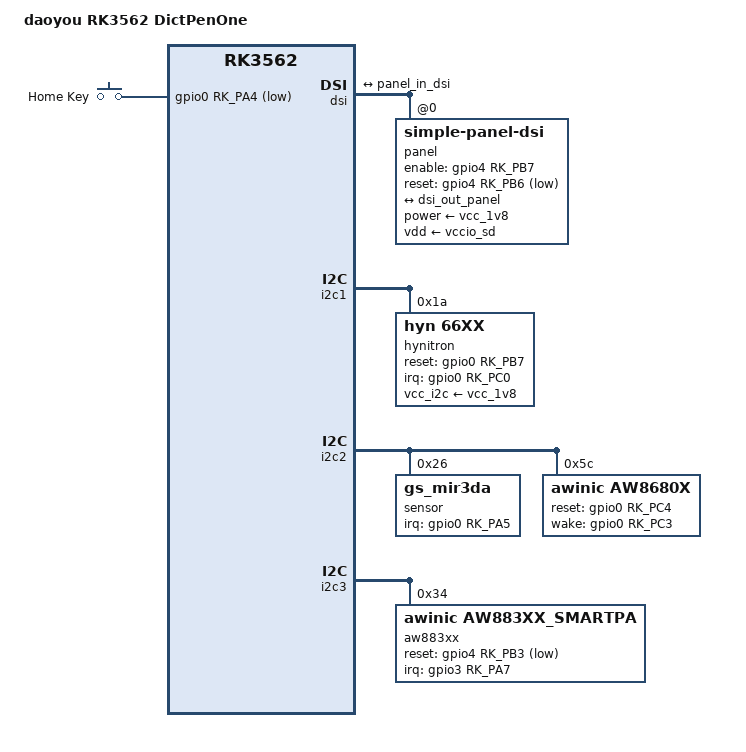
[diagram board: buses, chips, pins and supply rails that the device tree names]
// SPDX-License-Identifier: (GPL-2.0+ OR MIT)
/*
 * Copyright (c) 2022 Rockchip Electronics Co., Ltd.
 *
 */

/dts-v1/;

#include "rk3562-dictpen07-commom.dtsi"
#include "rk3562-android.dtsi"
// #include "rk3562-linux.dtsi"

/ {
	model = "daoyou RK3562 DictPenOne";
	compatible = "daoyou,rk3562-dictpenone", "rockchip,rk3562";

	chosen: chosen {
		bootargs = "earlycon=uart8250,mmio32,0xff210000 console=ttyFIQ0 console=tty1";
	};
	// chosen: chosen {
	// 	bootargs = "earlycon=uart8250,mmio32,0xff210000 console=ttyFIQ0 console=tty1 root=PARTUUID=614e0000-0000 rw rootwait";
	// };

	adc_keys: adc-keys {
		compatible = "adc-keys";
		io-channels = <&saradc0 1>;
		io-channel-names = "buttons";
		keyup-threshold-microvolt = <1800000>;
		poll-interval = <100>;

		// vol-up-key {
		// 	label = "volume up";
		// 	linux,code = <KEY_VOLUMEUP>;
		// 	press-threshold-microvolt = <1750>;
		// };

		// vol-down-key {
		// 	label = "volume down";
		// 	linux,code = <KEY_VOLUMEDOWN>;
		// 	press-threshold-microvolt = <297500>;
		// };
	};

	aw883x-sound {
		status = "okay";
		compatible = "rockchip,multicodecs-card";
		rockchip,card-name = "rockchip-aw883xx";
		rockchip,format = "i2s";
		rockchip,mclk-fs = <256>;
		rockchip,cpu = <&sai0>;
		rockchip,codec = <&aw883xx>;
	};

	// led_control {
	// 	status = "okay";
	// 	compatible = "led_control";
	// 	debounce-interval = <1>;
	// 	wakeup-source;
	// 	pinctrl-names = "default";
	// 	pinctrl-0 = <&led_left_gpio>, <&led_white_gpio>, <&led_ir_gpio>;
	// 	left_gpio = <&gpio0 RK_PA6 GPIO_ACTIVE_LOW>;
	// 	white-gpio = <&gpio1 RK_PB3 GPIO_ACTIVE_HIGH>;
	// 	ir-gpio = <&gpio1 RK_PB4 GPIO_ACTIVE_HIGH>;
	// 	hall-down = <&gpio0 RK_PC2 GPIO_ACTIVE_LOW>;
	// };

	gpio-keys {
		compatible = "gpio-keys";
		pinctrl-names = "default";
		pinctrl-0 = <&home_key>, <&hall_down>, <&hall_up>;

		home-key {
			gpios = <&gpio0 RK_PA4 GPIO_ACTIVE_LOW>;
			linux,code = <KEY_VOLUMEDOWN>;
			label = "Home Key";
			debounce-interval = <25>;
			wakeup-source;
		};

		// hall@1 {
		// 	label = "hall-down";
		// 	linux,code = <KEY_5>;
		// 	linux,input-type = <EV_SW>;
		// 	gpio = <&gpio0 RK_PC2 GPIO_ACTIVE_LOW>;
		// 	debounce-interval = <50>;
		// 	wakeup-source;
		// };

		// hall@2 {
		// 	label = "hall-up";
		// 	linux,code = <KEY_9>;
		// 	linux,input-type = <EV_SW>;
		// 	gpio = <&gpio0 RK_PA7 GPIO_ACTIVE_LOW>;
		// 	debounce-interval = <50>;
		// 	wakeup-source;
		// };
	};
};

&dsi {
	status = "okay";

	panel@0 {
		compatible = "simple-panel-dsi";
		reg = <0>;

		power-supply=<&vcc_1v8>;
		vdd-supply = <&vccio_sd>;
		enable-gpios = <&gpio4 RK_PB7 GPIO_ACTIVE_HIGH>;
		reset-gpios = <&gpio4 RK_PB6 GPIO_ACTIVE_LOW>;

		pinctrl-names = "default";
		pinctrl-0 = <&lcd_enable_gpio>, <&lcd_rst_gpio>, <&lcd_bl_gpio>;

		init-delay-ms = <0x0a>;
		enable-delay-ms = <0x0a>;
		prepare-delay-ms = <0x0a>;
		reset-delay-ms = <0x0a>;
		unprepare-delay-ms = <0x14>;
		disable-delay-ms = <0x32>;

		dsi,flags = <(MIPI_DSI_MODE_VIDEO | MIPI_DSI_MODE_VIDEO_BURST |
			MIPI_DSI_MODE_LPM | MIPI_DSI_MODE_EOT_PACKET)>;
		dsi,format = <MIPI_DSI_FMT_RGB888>;
		dsi,lanes = <2>;

		panel-init-sequence = <0x290004f0 0xa50ff029 0x26a11 0x290002fd 0x1a290002 0xea022900 0x2fd0029 0x2e000 0x29000bf8 0x00 0x00 0x2900 0x35103ff 0x5320111 0x50a0129>;
		panel-exit-sequence = <0x5280128 0x5320110>;

		display-timings {
			native-mode = <&timing0>;

			timing0: timing0 {
				clock-frequency = <0x4c4b400>;
				hactive = <0x238>;
				vactive = <0x4ba>;
				hback-porch = <0x104>;
				hfront-porch = <0xfa>;
				hsync-len = <0x04>;
				vback-porch = <0x0c>;
				vfront-porch = <0x0a>;
				vsync-len = <0x04>;
				hsync-active = <0x00>;
				vsync-active = <0x00>;
				de-active = <0x01>;
				pixelclk-active = <0x01>;
			};
		};

		ports {
			#address-cells = <1>;
			#size-cells = <0>;

			port@0 {
				reg = <0>;
				panel_in_dsi: endpoint {
					remote-endpoint = <&dsi_out_panel>;
				};
			};
		};
	};

	ports {
		#address-cells = <1>;
		#size-cells = <0>;

		port@1 {
			reg = <1>;
			dsi_out_panel: endpoint {
				remote-endpoint = <&panel_in_dsi>;
			};
		};
	};
};

&i2c1 {
	status = "okay";

	hynitron@1a {
		compatible = "hyn,66xx";
		vcc_i2c-supply = <&vcc_1v8>;
		reg = <0x1a>;
		reset-gpio = <&gpio0 RK_PB7 GPIO_ACTIVE_HIGH>;
		irq-gpio = <&gpio0 RK_PC0 IRQ_TYPE_LEVEL_LOW>;
		max-touch-number = <5>;
		display-coords = <0 0 568 1210>;
		pos-swap = <0>;
		posx-reverse = <0>;
		posy-reverse = <0>;
		status = "okay";
	};
};

&i2c2 {
	status = "okay";

	sensor@26 {
		status = "okay";
		compatible = "gs_mir3da";
		reg = <0x26>;
		type = <SENSOR_TYPE_ACCEL>;
		irq-gpio = <&gpio0 RK_PA5 IRQ_TYPE_LEVEL_LOW>;
		irq_enable = <1>;
		poll_delay_ms = <30>;
		layout = <4>;
		pinctrl-0 = <&mir3_gpio>;
		pinctrl-names = "default";
	};

	aw8680x@5c {
		compatible = "awinic,aw8680x";
		reg = <0x5c>;
		pinctrl-names = "default";
		pinctrl-0 = <&aw8680x_reset_gpio>, <&aw8680x_wake_gpio>;
		reset-gpio = <&gpio0 RK_PC4 GPIO_ACTIVE_HIGH>;
		wake-gpio = <&gpio0 RK_PC3 GPIO_ACTIVE_HIGH>;
		flash_boot_function_used;
		status = "okay";
	};
};

&i2c3 {
	status = "okay";

	aw883xx: aw883xx@34 {
		compatible = "awinic,aw883xx_smartpa";
		reg = <0x34>;
		#sound-dai-cells = <0>;
		reset-gpio = <&gpio4 RK_PB3 GPIO_ACTIVE_LOW>;
		irq-gpio = <&gpio3 RK_PA7 GPIO_ACTIVE_HIGH>;
		pinctrl-0 = <&aw_rst_gpio>;
		pinctrl-names = "default";
		re-min = <1000>;
		re-max = <40000>;
		status = "okay";
	};
};

&pinctrl {
	lcd {
		lcd_rst_gpio: lcd-rst-gpio {
			rockchip,pins = <4 RK_PB6 RK_FUNC_GPIO &pcfg_pull_none>;
		};

		lcd_enable_gpio: lcd-enable-gpio {
			rockchip,pins = <4 RK_PB7 RK_FUNC_GPIO &pcfg_pull_none>;
		};

		lcd_bl_gpio: lcd-bl-gpio {
			rockchip,pins = <3 RK_PC6 RK_FUNC_GPIO &pcfg_pull_none>;
		};
	};

	led_control {
		led_left_gpio: led-left-gpio {
			rockchip,pins = <0 RK_PA6 RK_FUNC_GPIO &pcfg_pull_up>;
		};

		led_white_gpio: led-white-gpio {
			rockchip,pins = <1 RK_PB3 RK_FUNC_GPIO &pcfg_pull_none>;
		};

		led_ir_gpio: led-ir-gpio {
			rockchip,pins = <1 RK_PB4 RK_FUNC_GPIO &pcfg_pull_none>;
		};
	};

	gpio_keys {
		home_key: home-key {
			rockchip,pins = <0 RK_PA4 RK_FUNC_GPIO &pcfg_pull_up>;
		};

		hall_up: hall-up {
			rockchip,pins = <0 RK_PA7 RK_FUNC_GPIO &pcfg_pull_up>;
		};

		hall_down: hall-down {
			rockchip,pins = <0 RK_PC2 RK_FUNC_GPIO &pcfg_pull_up>;
		};
	};

		mir3_int {
		mir3_gpio: mir3-gpio {
			rockchip,pins = <0 RK_PA5 RK_FUNC_GPIO &pcfg_pull_up>;
		};
	};

	aw8680x {
		aw8680x_reset_gpio: aw8680x-reset-gpio {
			rockchip,pins = <0 RK_PC4 RK_FUNC_GPIO &pcfg_pull_none>;
		};

		aw8680x_wake_gpio: aw8680x-wake-gpio {
			rockchip,pins = <0 RK_PC3 RK_FUNC_GPIO &pcfg_pull_none>;
		};
	};

	aw883xx {
		aw_rst_gpio: aw-rst-gpio {
			rockchip,pins = <4 RK_PB3 RK_FUNC_GPIO &pcfg_pull_none>;
		};
	};

	flash_led {
		flash_led_white: flash-led-white {
			rockchip,pins = <1 RK_PB3 RK_FUNC_GPIO &pcfg_output_low>;
		};

		flash_led_ir: flash-led-ir {
			rockchip,pins = <1 RK_PB4 RK_FUNC_GPIO &pcfg_output_low>;
		};
	};
};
